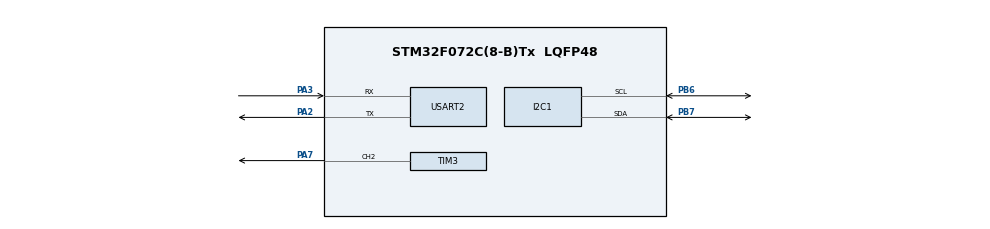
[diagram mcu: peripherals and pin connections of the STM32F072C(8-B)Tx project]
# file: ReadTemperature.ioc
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Mcu.Family=STM32F0
Mcu.Name=STM32F072C(8-B)Tx
Mcu.Package=LQFP48
NVIC.TIM2_IRQn=true\:0\:0\:false\:false\:true\:true\:true\:true
NVIC.USART2_IRQn=true\:0\:0\:false\:false\:true\:true\:true\:true
PA2.Mode=Asynchronous
PA2.Signal=USART2_TX
PA3.Mode=Asynchronous
PA3.Signal=USART2_RX
PA7.Signal=S_TIM3_CH2
PB6.Mode=I2C
PB6.Signal=I2C1_SCL
PB7.Mode=I2C
PB7.Signal=I2C1_SDA
ProjectManager.HeapSize=0x200
ProjectManager.StackSize=0x400
ProjectManager.TargetToolchain=STM32CubeIDE
SH.S_TIM3_CH2.0=TIM3_CH2,PWM Generation2 CH2
TIM2.Period=1000-1
TIM2.Prescaler=8-1
TIM3.Channel-PWM\ Generation2\ CH2=TIM_CHANNEL_2
TIM3.Period=10000-1
TIM3.Prescaler=8-1
TIM3.Pulse-PWM\ Generation2\ CH2=5000
USART2.VirtualMode-Asynchronous=VM_ASYNC
VP_TIM2_VS_ClockSourceINT.Mode=Internal
VP_TIM3_VS_ClockSourceINT.Mode=Internal
board=custom

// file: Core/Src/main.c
/* USER CODE BEGIN Header */
/**
  ******************************************************************************
  * @file           : main.c
  * @brief          : Main program body
  ******************************************************************************
  * @attention
  *
  * Copyright (c) 2023 STMicroelectronics.
  * All rights reserved.
  *
  * This software is licensed under terms that can be found in the LICENSE file
  * in the root directory of this software component.
  * If no LICENSE file comes with this software, it is provided AS-IS.
  *
  ******************************************************************************
  */
/* USER CODE END Header */
#include "main.h"

/* USER CODE BEGIN Includes */
#include <string.h>
#include <stdio.h>
/* USER CODE END Includes */

I2C_HandleTypeDef hi2c1;

TIM_HandleTypeDef htim2;
TIM_HandleTypeDef htim3;

UART_HandleTypeDef huart2;

/* USER CODE BEGIN PV */

static const uint16_t timer2CallBackCountReload = 5000;
static uint16_t timer2CallBackCount = timer2CallBackCountReload;
static const uint8_t TMP1075_Address = (0x48 << 1);  // Use 8 bit address.
static const uint8_t Register_Address = 0x00;
static volatile float currentTemperature; // use ISR and main program.
static const float temperatureThreshold = 100; // in F

static uint8_t uartReceivedIndex;
static uint8_t uartReceivedData[2];
static uint8_t uartReceivedBuffer[50];
static uint8_t uartTransmitBuffer[50];

/* USER CODE END PV */

void SystemClock_Config(void);
static void MX_GPIO_Init(void);
static void MX_I2C1_Init(void);
static void MX_TIM2_Init(void);
static void MX_TIM3_Init(void);
static void MX_USART2_UART_Init(void);

int main(void)
{
  /* USER CODE BEGIN 1 */
 HAL_StatusTypeDef ret;
  int16_t rawTemperatureValue;
  float readableTempreature;
  uint8_t buffer[25];
  /* USER CODE END 1 */

  /* MCU Configuration--------------------------------------------------------*/

  /* Reset of all peripherals, Initializes the Flash interface and the Systick. */
  HAL_Init();

  /* Configure the system clock */
  SystemClock_Config();

  /* Initialize all configured peripherals */
  MX_GPIO_Init();
  MX_I2C1_Init();
  MX_TIM2_Init();
  MX_TIM3_Init();
  MX_USART2_UART_Init();
  /* USER CODE BEGIN 2 */

  // Start Timer 2 and call ISR on every 1 ms.
  HAL_TIM_Base_Start_IT(&htim2);

  // Enable UARt2 Received interrupt on received of 1 byte.
  HAL_UART_Receive_IT(&huart2,uartReceivedData,1);

  /* USER CODE END 2 */

  /* Infinite loop */
  while (1)
  {
	  buffer[0] = Register_Address;

	  // Inform to sensor that we want to make communication.
	  ret = HAL_I2C_Master_Transmit(&hi2c1,TMP1075_Address,buffer,1/*size of byte need to write*/, 1000);

	  if (ret != HAL_OK){
		  // Error is generated
		  strcpy((char*)buffer, "Error on Transmit\r\n");
		  HAL_UART_Transmit(&huart2, buffer,strlen((char*)buffer),1000);
	  }
	  else{

		  // Read 2 bytes of raw data from temperature register
		  ret = HAL_I2C_Master_Receive(&hi2c1,TMP1075_Address,buffer,2 /*size of byte need to read*/, 1000);
		  if (ret != HAL_OK){
				  // Error is generated
			  	 strcpy((char*)buffer, "Error on Read\r\n");
			  	 HAL_UART_Transmit(&huart2, buffer,strlen((char*)buffer),1000);
		  }
		  else {
			  rawTemperatureValue = ((int16_t)buffer[0] << 4) | (buffer[1] >> 4);

			  // Make sure temperature if negative then convert in negative.
			  // maximum 12 bit value 0x7FF
			  if (rawTemperatureValue > 0x7FF) {
				  rawTemperatureValue |= 0xF000;
			  }

			  // get floating point temperature
			  readableTempreature =  (rawTemperatureValue * 0.0625) * 9/5 + 32  ;

			  currentTemperature = readableTempreature;
		  }
	  }

	  HAL_Delay(500);

  }
}

void SystemClock_Config(void)
{
  RCC_OscInitTypeDef RCC_OscInitStruct = {0};
  RCC_ClkInitTypeDef RCC_ClkInitStruct = {0};
  RCC_PeriphCLKInitTypeDef PeriphClkInit = {0};

  /** Initializes the RCC Oscillators according to the specified parameters
  * in the RCC_OscInitTypeDef structure.
  */
  RCC_OscInitStruct.OscillatorType = RCC_OSCILLATORTYPE_HSI;
  RCC_OscInitStruct.HSIState = RCC_HSI_ON;
  RCC_OscInitStruct.HSICalibrationValue = RCC_HSICALIBRATION_DEFAULT;
  RCC_OscInitStruct.PLL.PLLState = RCC_PLL_NONE;
  if (HAL_RCC_OscConfig(&RCC_OscInitStruct) != HAL_OK)
  {
    Error_Handler();
  }

  /** Initializes the CPU, AHB and APB buses clocks
  */
  RCC_ClkInitStruct.ClockType = RCC_CLOCKTYPE_HCLK|RCC_CLOCKTYPE_SYSCLK
                              |RCC_CLOCKTYPE_PCLK1;
  RCC_ClkInitStruct.SYSCLKSource = RCC_SYSCLKSOURCE_HSI;
  RCC_ClkInitStruct.AHBCLKDivider = RCC_SYSCLK_DIV1;
  RCC_ClkInitStruct.APB1CLKDivider = RCC_HCLK_DIV1;

  if (HAL_RCC_ClockConfig(&RCC_ClkInitStruct, FLASH_LATENCY_0) != HAL_OK)
  {
    Error_Handler();
  }
  PeriphClkInit.PeriphClockSelection = RCC_PERIPHCLK_USART2|RCC_PERIPHCLK_I2C1;
  PeriphClkInit.Usart2ClockSelection = RCC_USART2CLKSOURCE_PCLK1;
  PeriphClkInit.I2c1ClockSelection = RCC_I2C1CLKSOURCE_HSI;
  if (HAL_RCCEx_PeriphCLKConfig(&PeriphClkInit) != HAL_OK)
  {
    Error_Handler();
  }
}

static void MX_I2C1_Init(void)
{

  hi2c1.Instance = I2C1;
  hi2c1.Init.Timing = 0x2000090E;
  hi2c1.Init.OwnAddress1 = 0;
  hi2c1.Init.AddressingMode = I2C_ADDRESSINGMODE_7BIT;
  hi2c1.Init.DualAddressMode = I2C_DUALADDRESS_DISABLE;
  hi2c1.Init.OwnAddress2 = 0;
  hi2c1.Init.OwnAddress2Masks = I2C_OA2_NOMASK;
  hi2c1.Init.GeneralCallMode = I2C_GENERALCALL_DISABLE;
  hi2c1.Init.NoStretchMode = I2C_NOSTRETCH_DISABLE;
  if (HAL_I2C_Init(&hi2c1) != HAL_OK)
  {
    Error_Handler();
  }

  /** Configure Analogue filter
  */
  if (HAL_I2CEx_ConfigAnalogFilter(&hi2c1, I2C_ANALOGFILTER_ENABLE) != HAL_OK)
  {
    Error_Handler();
  }

  /** Configure Digital filter
  */
  if (HAL_I2CEx_ConfigDigitalFilter(&hi2c1, 0) != HAL_OK)
  {
    Error_Handler();
  }

}

static void MX_TIM2_Init(void)
{

  TIM_ClockConfigTypeDef sClockSourceConfig = {0};
  TIM_MasterConfigTypeDef sMasterConfig = {0};

  htim2.Instance = TIM2;
  htim2.Init.Prescaler = 8-1;
  htim2.Init.CounterMode = TIM_COUNTERMODE_UP;
  htim2.Init.Period = 1000-1;
  htim2.Init.ClockDivision = TIM_CLOCKDIVISION_DIV1;
  htim2.Init.AutoReloadPreload = TIM_AUTORELOAD_PRELOAD_DISABLE;
  if (HAL_TIM_Base_Init(&htim2) != HAL_OK)
  {
    Error_Handler();
  }
  sClockSourceConfig.ClockSource = TIM_CLOCKSOURCE_INTERNAL;
  if (HAL_TIM_ConfigClockSource(&htim2, &sClockSourceConfig) != HAL_OK)
  {
    Error_Handler();
  }
  sMasterConfig.MasterOutputTrigger = TIM_TRGO_RESET;
  sMasterConfig.MasterSlaveMode = TIM_MASTERSLAVEMODE_DISABLE;
  if (HAL_TIMEx_MasterConfigSynchronization(&htim2, &sMasterConfig) != HAL_OK)
  {
    Error_Handler();
  }

}

static void MX_TIM3_Init(void)
{

  TIM_ClockConfigTypeDef sClockSourceConfig = {0};
  TIM_MasterConfigTypeDef sMasterConfig = {0};
  TIM_OC_InitTypeDef sConfigOC = {0};

  htim3.Instance = TIM3;
  htim3.Init.Prescaler = 8-1;
  htim3.Init.CounterMode = TIM_COUNTERMODE_UP;
  htim3.Init.Period = 10000-1;
  htim3.Init.ClockDivision = TIM_CLOCKDIVISION_DIV1;
  htim3.Init.AutoReloadPreload = TIM_AUTORELOAD_PRELOAD_DISABLE;
  if (HAL_TIM_Base_Init(&htim3) != HAL_OK)
  {
    Error_Handler();
  }
  sClockSourceConfig.ClockSource = TIM_CLOCKSOURCE_INTERNAL;
  if (HAL_TIM_ConfigClockSource(&htim3, &sClockSourceConfig) != HAL_OK)
  {
    Error_Handler();
  }
  if (HAL_TIM_PWM_Init(&htim3) != HAL_OK)
  {
    Error_Handler();
  }
  sMasterConfig.MasterOutputTrigger = TIM_TRGO_RESET;
  sMasterConfig.MasterSlaveMode = TIM_MASTERSLAVEMODE_DISABLE;
  if (HAL_TIMEx_MasterConfigSynchronization(&htim3, &sMasterConfig) != HAL_OK)
  {
    Error_Handler();
  }
  sConfigOC.OCMode = TIM_OCMODE_PWM1;
  sConfigOC.Pulse = 5000;
  sConfigOC.OCPolarity = TIM_OCPOLARITY_HIGH;
  sConfigOC.OCFastMode = TIM_OCFAST_DISABLE;
  if (HAL_TIM_PWM_ConfigChannel(&htim3, &sConfigOC, TIM_CHANNEL_2) != HAL_OK)
  {
    Error_Handler();
  }
  HAL_TIM_MspPostInit(&htim3);

}

static void MX_USART2_UART_Init(void)
{

  huart2.Instance = USART2;
  huart2.Init.BaudRate = 38400;
  huart2.Init.WordLength = UART_WORDLENGTH_8B;
  huart2.Init.StopBits = UART_STOPBITS_1;
  huart2.Init.Parity = UART_PARITY_NONE;
  huart2.Init.Mode = UART_MODE_TX_RX;
  huart2.Init.HwFlowCtl = UART_HWCONTROL_NONE;
  huart2.Init.OverSampling = UART_OVERSAMPLING_16;
  huart2.Init.OneBitSampling = UART_ONE_BIT_SAMPLE_DISABLE;
  huart2.AdvancedInit.AdvFeatureInit = UART_ADVFEATURE_NO_INIT;
  if (HAL_UART_Init(&huart2) != HAL_OK)
  {
    Error_Handler();
  }

}

static void MX_GPIO_Init(void)
{

  /* GPIO Ports Clock Enable */
  __HAL_RCC_GPIOA_CLK_ENABLE();
  __HAL_RCC_GPIOB_CLK_ENABLE();

}

/* USER CODE BEGIN 4 */

/**
  * @brief Every 1 ms on overflow of timer 2 ISR will be call.
  * @param htim handler or timer 2.
  * @retval None
  */
void HAL_TIM_PeriodElapsedCallBack(TIM_HandleTypeDef * htim){

	// On Every 5 second if loop will be execute

	if (htim->Instance == TIM2) {
	if (--timer2CallBackCount == 0){

		// if temperature is above certain level then
		if ( currentTemperature > temperatureThreshold){
			// start PWD on pin PA7 with help of timer 3.
			HAL_TIM_PWM_Start(&htim3, TIM_CHANNEL_2);
		}
		else
		{
			// turn off the PWD signal on signal on pin PA7.
			HAL_TIM_PWM_Stop(&htim3, TIM_CHANNEL_2);
		}
		timer2CallBackCount = timer2CallBackCountReload;
	}
	}
}

void HAL_UART_RxCpltCallback(UART_HandleTypeDef* huart){

	if (huart->Instance == USART2) {

		if (uartReceivedIndex == 0){
			memset(&uartReceivedBuffer,0,50);
		}

		char asciiOfCR = 13;

		if (uartReceivedBuffer[0] != asciiOfCR){
			uartReceivedBuffer[uartReceivedIndex++] = uartReceivedBuffer[0];
		}
		else {
			uartReceivedIndex = 0;

			// On Received of read command from USER
			if (!strcmp((char*)uartReceivedBuffer, "read")){
				unsigned int tempVal = currentTemperature * 100;
				sprintf((char*) uartTransmitBuffer,"%u.%02u F\r\n",(unsigned int)tempVal/100 , (unsigned int)tempVal%100);
				HAL_UART_Transmit(&huart2, uartTransmitBuffer,strlen((char*)uartTransmitBuffer),1000);
			}
		}

		// enable again ISR
		HAL_UART_Receive_IT(&huart2,uartReceivedData,1);
	}

}

/* USER CODE END 4 */

void Error_Handler(void)
{
  __disable_irq();
  while (1)
  {
  }
}
